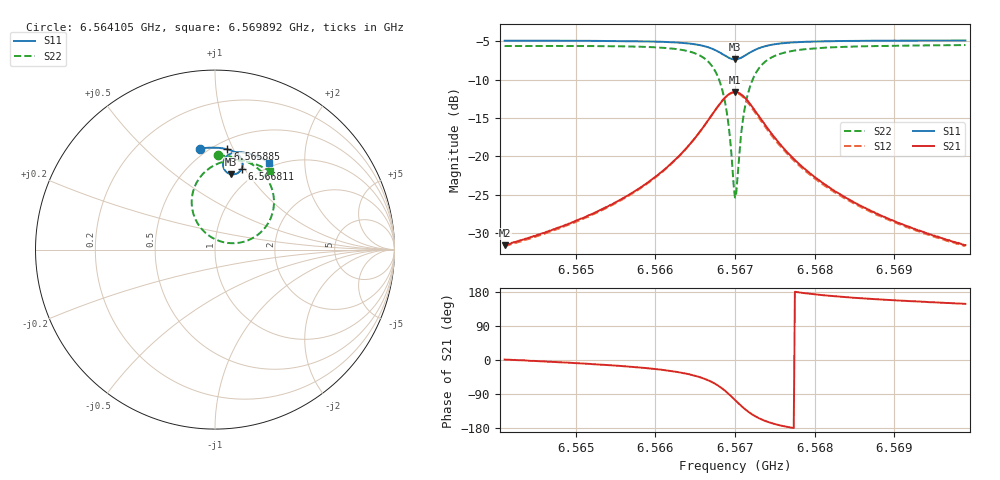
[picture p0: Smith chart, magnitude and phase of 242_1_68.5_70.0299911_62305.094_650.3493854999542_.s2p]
#  HZ  S  RI  R  50.00
! Rohde & Schwarz Vector Network Analyzer
! Rohde-Schwarz,ZNB20-2Port,1311601062101988,3.16
! Created: UTC 3/20/2024, 4:59:23 PM
! freq[Hz]  re:S11  im:S11  re:S21  im:S21  re:S12  im:S12  re:S22  im:S22
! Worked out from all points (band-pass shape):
!   401 points, 6.564105 GHz to 6.569892 GHz, reference 50 ohm
!   highest |S21| = -11.60 dB at 6.566999 GHz (marker M1); lowest = -31.6 dB at 6.564105 GHz (marker M2)
!   |S21| within 3 dB of the highest: 6.566709 GHz to 6.567288 GHz (579.3 kHz wide, 0.00882 % of centre)
!   lowest |S11| = -7.3 dB at 6.566999 GHz (marker M3), VSWR 2.51, Z = 40.4 + j41.7 ohm
!   |S11| at or under -10 dB: nowhere
!   |S22| runs from -25.4 to -5.5 dB; largest |S21 - S12| = 0.012
!   S11 on the Smith chart (normalised r, x): 6.564105 GHz: 0.45, +0.76; 6.565885 GHz: 0.58, +0.95; 6.566811 GHz: 0.83, +0.97; 6.569892 GHz: 0.93, +1.34
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6.564105e9  -0.0819 0.5632  0.0262 0.000602  0.0259 7.48e-05  0.0167 0.525
6.5650744e9  -0.00358 0.568  0.0389 -0.0062  0.0382 -0.00683  0.1057 0.5145
6.5658847e9  0.0695 0.5589  0.0617 -0.0242  0.0608 -0.0249  0.2033 0.4767
6.5660438e9  0.0856 0.554  0.0695 -0.0323  0.0684 -0.0331  0.2281 0.4603
6.5663621e9  0.1209 0.5358  0.0895 -0.0626  0.088 -0.0639  0.2865 0.4002
6.5665791e9  0.1454 0.509  0.1025 -0.1093  0.1001 -0.1113  0.3244 0.3102
6.5667094e9  0.1541 0.4807  0.098 -0.1586  0.0943 -0.1614  0.3234 0.2159
6.5668106e9  0.1489 0.4515  0.0718 -0.2088  0.0652 -0.2116  0.2782 0.1213
6.5668974e9  0.1284 0.4278  0.0198 -0.2477  0.0103 -0.2482  0.1838 0.0516
6.5669264e9  0.1179 0.4225  -0.00386 -0.2553  -0.0143 -0.2544  0.1409 0.039
6.5669843e9  0.0937 0.4194  -0.0566 -0.2565  -0.0672 -0.2519  0.0472 0.0412
6.5669987e9  0.0875 0.4204  -0.0699 -0.2535  -0.0803 -0.248  0.0245 0.0479
6.5670277e9  0.0757 0.4245  -0.095 -0.2436  -0.1048 -0.2365  -0.0187 0.068
6.5670855e9  0.0568 0.4394  -0.136 -0.2118  -0.1429 -0.2023  -0.0854 0.1286
6.5671289e9  0.0485 0.4541  -0.156 -0.1821  -0.16 -0.1719  -0.1148 0.1831
6.5671868e9  0.0446 0.4742  -0.1684 -0.1426  -0.1696 -0.1327  -0.1296 0.2538
6.5672592e9  0.0486 0.496  -0.1681 -0.1001  -0.167 -0.0919  -0.1209 0.3273
6.5675196e9  0.0876 0.5345  -0.1261 -0.0219  -0.1234 -0.0183  -0.0255 0.457
6.5679681e9  0.146 0.5424  -0.0749 0.008  -0.0731 0.00917  0.0948 0.497
6.5684166e9  0.1901 0.5343  -0.0511 0.0131  -0.0498 0.0139  0.1658 0.4926
6.5689375e9  0.2333 0.5194  -0.0362 0.0143  -0.0354 0.0145  0.224 0.4767
6.5698924e9  0.3024 0.4845  -0.0224 0.0139  -0.0219 0.0138  0.3039 0.4378
